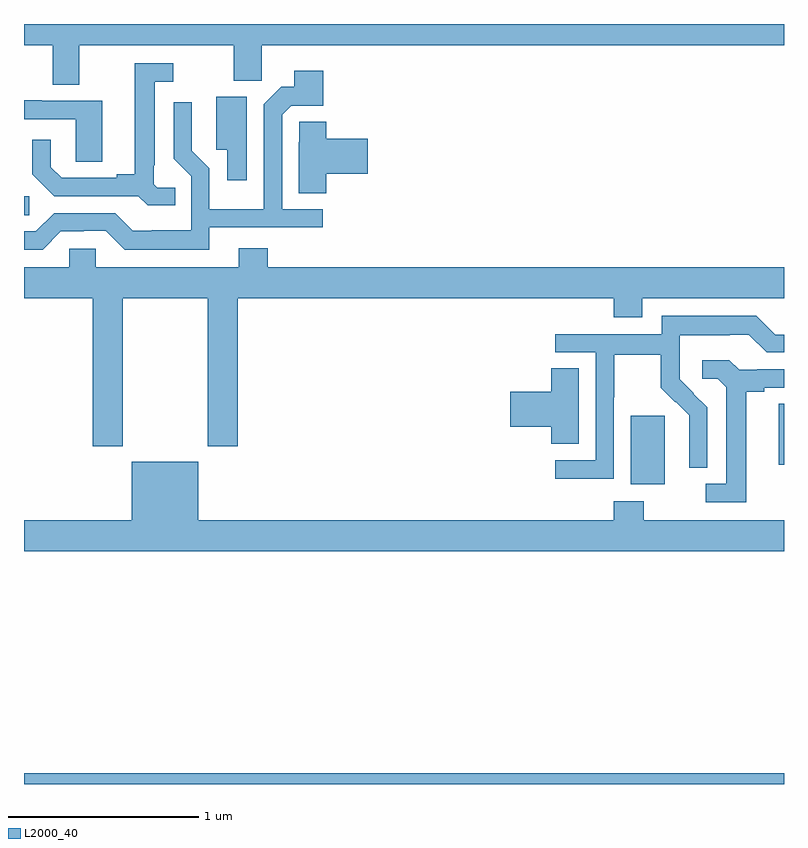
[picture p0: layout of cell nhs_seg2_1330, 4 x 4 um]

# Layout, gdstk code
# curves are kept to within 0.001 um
import gdstk
lib = gdstk.Library(unit=1e-6, precision=1e-09)
def R(c, l, rs):  # rectangles x0, y0, x1, y1
    for r in rs: c.add(gdstk.rectangle(r[:2], r[2:], *l))
def P(c, l, *ps):  # polygons
    for p in ps: c.add(gdstk.Polygon(p, *l))
L2000_40 = (2000, 40)

nhs_seg2_1330 = lib.new_cell('nhs_seg2_1330')
R(nhs_seg2_1330, L2000_40, [(181,591.8,185,591.856), (184.193,593.378,184.372,593.739), (184.973,593.481,185,593.801), (181,594.793,181.027,594.894)])
P(nhs_seg2_1330, L2000_40, [(181.291,595.688),(182.104,595.688),(182.104,595.501),(182.25,595.501),(182.25,595.688),(185,595.688),(185,595.8),(181,595.8),(181,595.688),(181.151,595.688),(181.151,595.48),(181.291,595.48)],
  [(181.796,594.939),(181.701,594.939),(181.683,594.957),(181.683,595.057),(181.687,595.057),(181.687,595.497),(181.786,595.497),(181.786,595.593),(181.583,595.593),(181.583,595.01),(181.487,595.01),(181.487,594.99),(181.198,594.99),(181.141,595.047),(181.141,595.192),(181.044,595.192),(181.044,595.01),(181.16,594.894),(181.602,594.894),(181.65,594.847),(181.796,594.847)],
  [(181.975,594.729),(182.572,594.729),(182.572,594.825),(182.358,594.825),(182.358,595.323),(182.406,595.371),(182.576,595.371),(182.576,595.555),(182.423,595.555),(182.423,595.47),(182.355,595.47),(182.262,595.377),(182.262,594.826),(181.974,594.826),(181.974,595.042),(181.883,595.134),(181.884,595.387),(181.788,595.387),(181.788,595.092),(181.881,594.999),(181.881,594.715),(181.672,594.715),(181.672,594.711),(181.572,594.711),(181.479,594.804),(181.158,594.804),(181.062,594.708),(181,594.708),(181,594.612),(181.098,594.612),(181.194,594.708),(181.314,594.708),(181.314,594.711),(181.431,594.711),(181.531,594.611),(181.975,594.611)],
  [(182.173,595.416),(182.012,595.416),(182.012,595.137),(182.069,595.137),(182.069,594.978),(182.173,594.978)],
  [(181.411,595.395),(181.093,595.395),(181.093,595.399),(181,595.399),(181,595.299),(181.272,595.299),(181.272,595.075),(181.411,595.075)],
  [(182.591,595.013),(182.809,595.013),(182.809,595.196),(182.591,595.196),(182.591,595.286),(182.448,595.286),(182.448,595.178),(182.447,595.178),(182.447,594.91),(182.591,594.91)],
  [(181.521,594.356),(181.966,594.356),(181.966,593.577),(182.126,593.577),(182.126,594.356),(184.103,594.356),(184.103,594.257),(184.255,594.257),(184.255,594.356),(185,594.356),(185,594.52),(182.282,594.52),(182.282,594.619),(182.129,594.619),(182.129,594.52),(181.377,594.52),(181.377,594.618),(181.239,594.618),(181.239,594.52),(181,594.52),(181,594.356),(181.361,594.356),(181.361,593.577),(181.521,593.577)],
  [(184.104,593.836),(184.107,593.836),(184.107,594.06),(184.351,594.06),(184.351,593.885),(184.428,593.808),(184.431,593.811),(184.502,593.741),(184.502,593.618),(184.5,593.618),(184.5,593.464),(184.596,593.464),(184.596,593.782),(184.45,593.93),(184.45,594.027),(184.452,594.027),(184.452,594.161),(184.715,594.161),(184.715,594.165),(184.815,594.165),(184.908,594.072),(185,594.072),(185,594.165),(184.953,594.165),(184.853,594.265),(184.356,594.265),(184.356,594.168),(183.795,594.168),(183.795,594.072),(184.008,594.072),(184.008,593.505),(183.795,593.505),(183.795,593.407),(184.104,593.407)],
  [(184.801,593.864),(184.897,593.864),(184.897,593.886),(185,593.886),(185,593.982),(184.858,593.982),(184.858,593.979),(184.764,593.979),(184.712,594.031),(184.569,594.031),(184.569,593.934),(184.65,593.934),(184.697,593.887),(184.697,593.379),(184.587,593.379),(184.587,593.283),(184.801,593.283)],
  [(183.919,593.987),(183.776,593.987),(183.776,593.864),(183.558,593.864),(183.558,593.681),(183.776,593.681),(183.776,593.59),(183.919,593.59)],
  [(185,593.188),(184.263,593.188),(184.263,593.287),(184.103,593.287),(184.103,593.188),(181.918,593.188),(181.918,593.497),(181.568,593.497),(181.568,593.188),(181,593.188),(181,593.024),(185,593.024)])

lib.write_gds('nhs_seg2_1330.gds')
